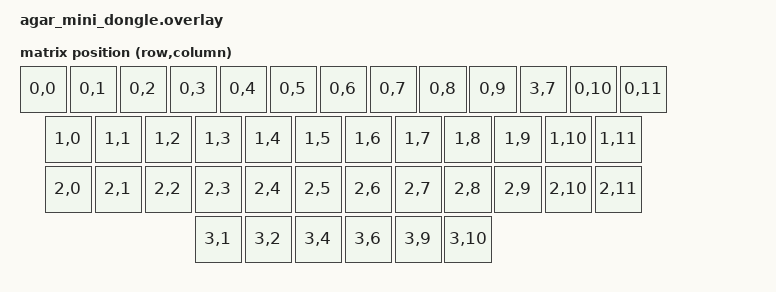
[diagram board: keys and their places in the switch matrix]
#include <dt-bindings/zmk/matrix_transform.h>

/ {
    chosen {
        zmk,kscan = &mock_kscan;
        zmk,physical-layout = &physical_layout0;
    };

    mock_kscan: mock_kscan_0 {
        compatible = "zmk,kscan-mock";
        columns = <0>;
        rows = <0>;
        events = <0>;
    };

    #define FIXED_3ROWS   <&key_physical_attrs 100 100    0    0       0     0     0> \
                        , <&key_physical_attrs 100 100  100    0       0     0     0> \
                        , <&key_physical_attrs 100 100  200    0       0     0     0> \
                        , <&key_physical_attrs 100 100  300    0       0     0     0> \
                        , <&key_physical_attrs 100 100  400    0       0     0     0> \
                        , <&key_physical_attrs 100 100  500    0       0     0     0> \
                        , <&key_physical_attrs 100 100  600    0       0     0     0> \
                        , <&key_physical_attrs 100 100  700    0       0     0     0> \
                        , <&key_physical_attrs 100 100  800    0       0     0     0> \
                        , <&key_physical_attrs 100 100  900    0       0     0     0> \
                        , <&key_physical_attrs 100 100 1000    0       0     0     0> \
                        , <&key_physical_attrs 100 100 1100    0       0     0     0> \
                        , <&key_physical_attrs 100 100 1200    0       0     0     0> \
                        , <&key_physical_attrs 125 100    0  100       0     0     0> \
                        , <&key_physical_attrs 100 100  125  100       0     0     0> \
                        , <&key_physical_attrs 100 100  225  100       0     0     0> \
                        , <&key_physical_attrs 100 100  325  100       0     0     0> \
                        , <&key_physical_attrs 100 100  425  100       0     0     0> \
                        , <&key_physical_attrs 100 100  525  100       0     0     0> \
                        , <&key_physical_attrs 100 100  625  100       0     0     0> \
                        , <&key_physical_attrs 100 100  725  100       0     0     0> \
                        , <&key_physical_attrs 100 100  825  100       0     0     0> \
                        , <&key_physical_attrs 100 100  925  100       0     0     0> \
                        , <&key_physical_attrs 100 100 1025  100       0     0     0> \
                        , <&key_physical_attrs 175 100 1125  100       0     0     0> \
                        , <&key_physical_attrs 175 100    0  200       0     0     0> \
                        , <&key_physical_attrs 100 100  175  200       0     0     0> \
                        , <&key_physical_attrs 100 100  275  200       0     0     0> \
                        , <&key_physical_attrs 100 100  375  200       0     0     0> \
                        , <&key_physical_attrs 100 100  475  200       0     0     0> \
                        , <&key_physical_attrs 100 100  575  200       0     0     0> \
                        , <&key_physical_attrs 100 100  675  200       0     0     0> \
                        , <&key_physical_attrs 100 100  775  200       0     0     0> \
                        , <&key_physical_attrs 100 100  875  200       0     0     0> \
                        , <&key_physical_attrs 100 100  975  200       0     0     0> \
                        , <&key_physical_attrs 125 100 1075  200       0     0     0> \
                        , <&key_physical_attrs 100 100 1200  200       0     0     0> \

    #define SPACE_3U      <&key_physical_attrs 100 100  125  300       0     0     0> \
                        , <&key_physical_attrs 125 100  225  300       0     0     0> \
                        , <&key_physical_attrs 300 100  350  300       0     0     0> \
                        , <&key_physical_attrs 300 100  650  300       0     0     0> \
                        , <&key_physical_attrs 125 100  950  300       0     0     0> \
                        , <&key_physical_attrs 100 100 1075  300       0     0     0> \

    physical_layout0: physical_layout_0 {
        compatible = "zmk,physical-layout";
        display-name = "Default Layout";
        transform = <&matrix_transform_all>;
        keys =    FIXED_3ROWS , SPACE_3U;
    };

    matrix_transform_all: matrix_transform_all {
        compatible = "zmk,matrix-transform";
        columns = <12>;
        rows = <4>;
        map = <
RC(0,0) RC(0,1) RC(0,2) RC(0,3) RC(0,4) RC(0,5) RC(0,6) RC(0,7) RC(0,8) RC(0,9) RC(3,7) RC(0,10) RC(0,11)
RC(1,0)   RC(1,1) RC(1,2) RC(1,3) RC(1,4) RC(1,5) RC(1,6) RC(1,7) RC(1,8) RC(1,9) RC(1,10)    RC(1,11)
RC(2,0)     RC(2,1) RC(2,2) RC(2,3) RC(2,4) RC(2,5) RC(2,6) RC(2,7) RC(2,8) RC(2,9)   RC(2,10)   RC(2,11)
       RC(3,1) RC(3,2)            RC(3,4)                 RC(3,6)            RC(3,9)   RC(3,10) 
        >;
    };
};
